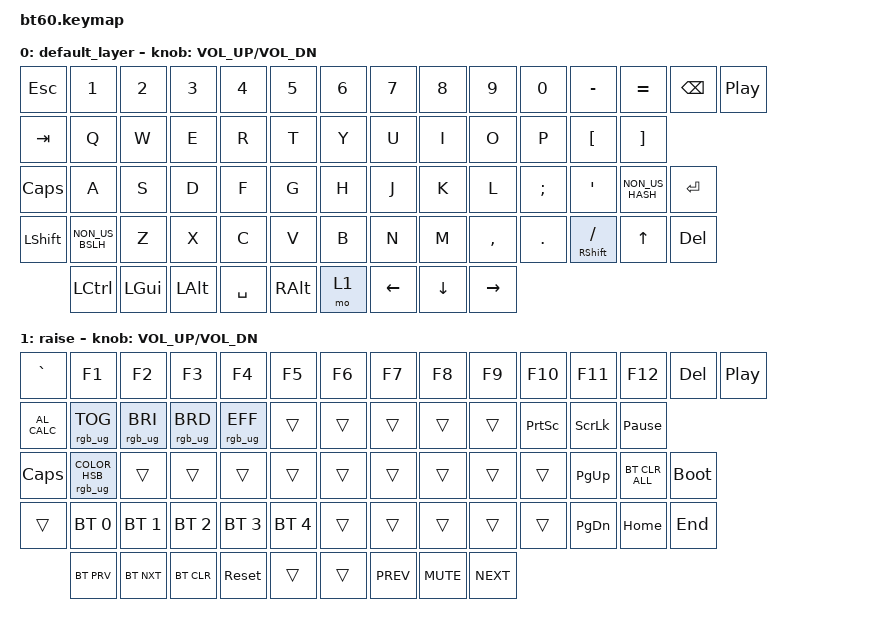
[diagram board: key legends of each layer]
#include <behaviors.dtsi>
#include <dt-bindings/zmk/bt.h>
#include <dt-bindings/zmk/keys.h>
#include <dt-bindings/zmk/rgb.h>
#include <dt-bindings/zmk/backlight.h>

/ {
    keymap {
        compatible = "zmk,keymap";

        default_layer {
            // ------------------------------------------------------------------------------------------
            // |  `  |  1  |  2  |  3  |  4  |  5  |  6  |  7  |  8  |  9  |  0  |  -  |  =  | BKSP | ENCODER |
            // | TAB  |  Q  |  W  |  E  |  R  |  T  |  Y  |  U  |  I  |  O  |  P  |  [  |  ]  |        |
            // | CAPS  |  A  |  S  |  D  |  F  |  G  |  H  |  J  |  K  |  L  |  ;  |  '  |  #  | ENTER |
            // |  SHIFT|  \ |  Z  |  X  |  C  |  V  |  B  |  N  |  M  |  ,  |  .  | / - SHIFT | UP | DEL |
            // |  CTL  |  WIN  |  ALT  |            SPACE               | ALT | 1 | LEFT | DOWN | RIGHT |
            // ------------------------------------------------------------------------------------------

            bindings = <
&kp ESC    &kp N1           &kp N2    &kp N3    &kp N4     &kp N5    &kp N6  &kp N7    &kp N8    &kp N9     &kp N0    &kp MINUS             &kp EQUAL        &kp BSPC  &kp C_PP
&kp TAB    &kp Q            &kp W     &kp E     &kp R      &kp T     &kp Y   &kp U     &kp I     &kp O      &kp P     &kp LBKT              &kp RBKT
&kp CAPS   &kp A            &kp S     &kp D     &kp F      &kp G     &kp H   &kp J     &kp K     &kp L      &kp SEMI  &kp SQT               &kp NON_US_HASH  &kp RET
&kp LSHFT  &kp NON_US_BSLH  &kp Z     &kp X     &kp C      &kp V     &kp B   &kp N     &kp M     &kp COMMA  &kp DOT   &mt RIGHT_SHIFT FSLH  &kp UP           &kp DEL
           &kp LCTRL        &kp LGUI  &kp LALT  &kp SPACE  &kp RALT  &mo 1   &kp LEFT  &kp DOWN  &kp RIGHT
            >;

            sensor-bindings = <&inc_dec_kp C_VOL_UP C_VOL_DN>;
        };

        raise {
            bindings = <
&kp GRAVE      &kp F1                             &kp F2           &kp F3           &kp F4           &kp F5        &kp F6  &kp F7      &kp F8      &kp F9      &kp F10    &kp F11    &kp F12          &kp DEL      &kp C_PP
&kp C_AL_CALC  &rgb_ug RGB_TOG                    &rgb_ug RGB_BRI  &rgb_ug RGB_BRD  &rgb_ug RGB_EFF  &trans        &trans  &trans      &trans      &trans      &kp PSCRN  &kp SLCK   &kp PAUSE_BREAK
&kp CAPS       &rgb_ug RGB_COLOR_HSB(115,100,50)  &trans           &trans           &trans           &trans        &trans  &trans      &trans      &trans      &trans     &kp PG_UP  &bt BT_CLR_ALL   &bootloader
&trans         &bt BT_SEL 0                       &bt BT_SEL 1     &bt BT_SEL 2     &bt BT_SEL 3     &bt BT_SEL 4  &trans  &trans      &trans      &trans      &trans     &kp PG_DN  &kp HOME         &kp END
               &bt BT_PRV                         &bt BT_NXT       &bt BT_CLR       &sys_reset       &trans        &trans  &kp C_PREV  &kp C_MUTE  &kp C_NEXT
            >;

            sensor-bindings = <&inc_dec_kp C_VOL_UP C_VOL_DN>;
        };
    };
};
